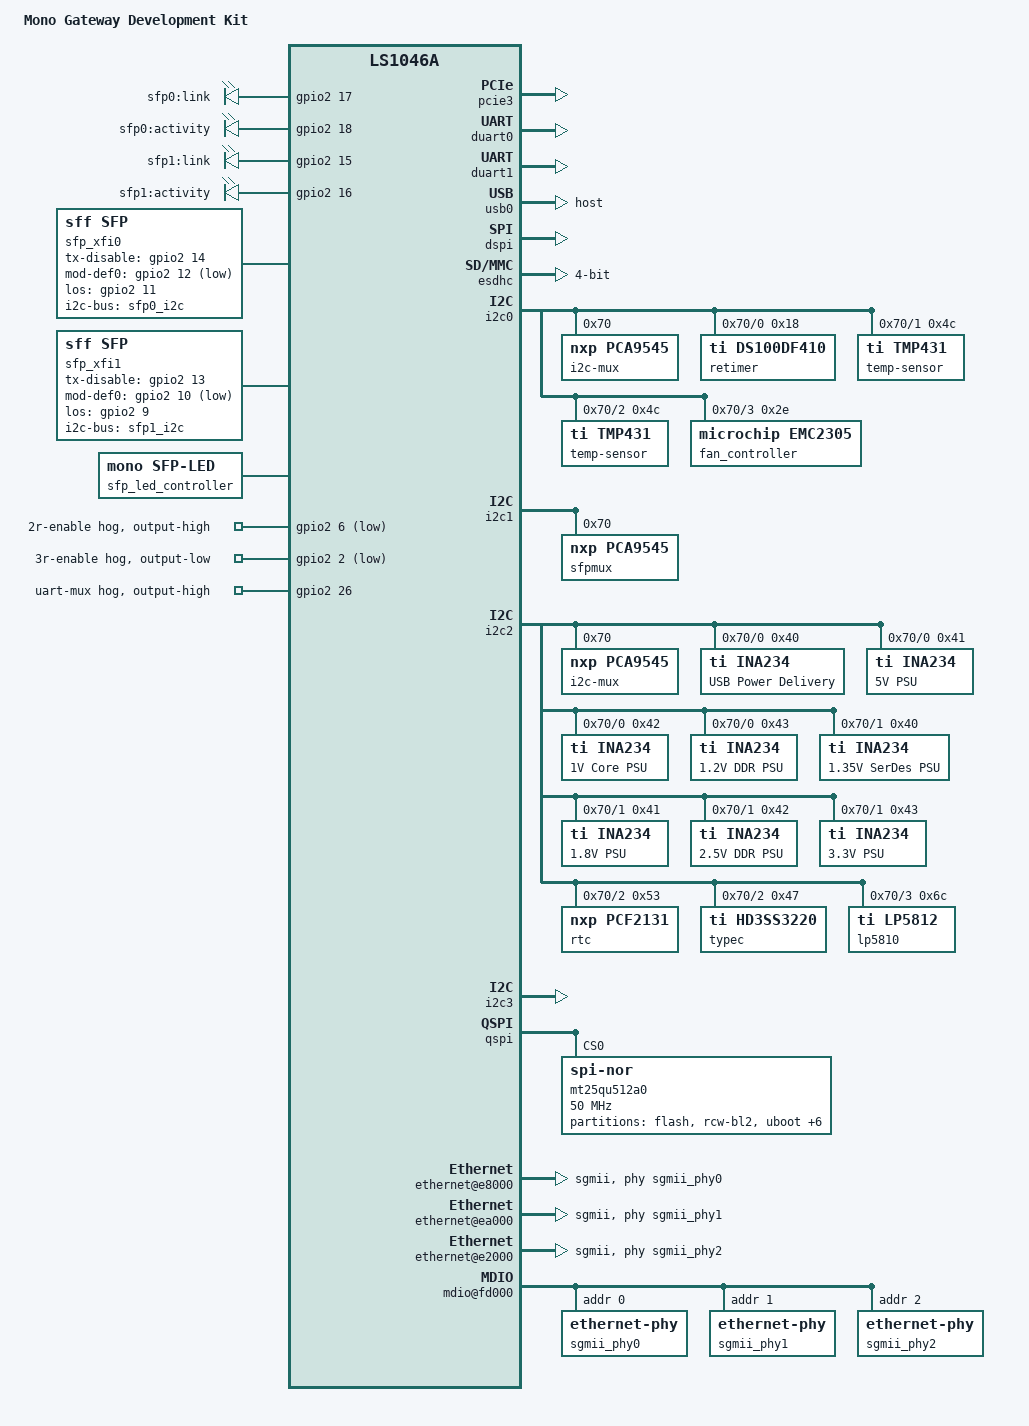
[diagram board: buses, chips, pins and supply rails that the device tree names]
// SPDX-License-Identifier: (GPL-2.0+ OR MIT)
/*
 * Device Tree file for Mono Gateway Development Kit (LS1046A)
 */

/dts-v1/;

#include <dt-bindings/gpio/gpio.h>
#include <dt-bindings/leds/common.h>
#include <dt-bindings/pwm/pwm.h>
#include "fsl-ls1046a.dtsi"

/ {
	model = "Mono Gateway Development Kit";
	compatible = "mono,gateway-dk", "fsl,ls1046a";

	aliases {
		serial0 = &duart0;
		serial1 = &duart1;

		/* Physical port order: left to right */
		ethernet0 = &enet4;  /* MAC5 - 1G leftmost - LAN */
		ethernet1 = &enet5;  /* MAC6 - 1G middle - LAN */
		ethernet2 = &enet1;  /* MAC2 - 1G rightmost - LAN */
		ethernet3 = &enet6;  /* MAC9 - 10G left - WAN */
		ethernet4 = &enet7;  /* MAC10 - 10G right - extra */
	};

	chosen {
		stdout-path = "serial0:115200n8";
	};

	leds {
		compatible = "gpio-leds";

		/* SFP+ Port 0 LEDs - Activity/Link */
		led_sfp0_link: sfp0_link {
			label = "sfp0:link";
			gpios = <&gpio2 17 GPIO_ACTIVE_HIGH>;
			default-state = "off";
		};

		led_sfp0_activity: sfp0_activity {
			label = "sfp0:activity";
			gpios = <&gpio2 18 GPIO_ACTIVE_HIGH>;
			default-state = "off";
		};

		/* SFP+ Port 1 LEDs - Activity/Link */
		led_sfp1_link: sfp1_link {
			label = "sfp1:link";
			gpios = <&gpio2 15 GPIO_ACTIVE_HIGH>;
			default-state = "off";
		};

		led_sfp1_activity: sfp1_activity {
			label = "sfp1:activity";
			gpios = <&gpio2 16 GPIO_ACTIVE_HIGH>;
			default-state = "off";
		};
	};

	/* SFP 1 */
	sfp_xfi0: sfp-xfi0 {
		compatible = "sff,sfp";
		i2c-bus = <&sfp0_i2c>;
		tx-disable-gpios = <&gpio2 14 GPIO_ACTIVE_HIGH>;
		mod-def0-gpios = <&gpio2 12 GPIO_ACTIVE_LOW>;
		los-gpios = <&gpio2 11 GPIO_ACTIVE_HIGH>;
		maximum-power-milliwatt = <3000>;
		leds = <&led_sfp0_link>, <&led_sfp0_activity>;
	};

	/* SFP 2 */
	sfp_xfi1: sfp-xfi1 {
		compatible = "sff,sfp";
		i2c-bus = <&sfp1_i2c>;
		tx-disable-gpios = <&gpio2 13 GPIO_ACTIVE_HIGH>;
		mod-def0-gpios = <&gpio2 10 GPIO_ACTIVE_LOW>;
		los-gpios = <&gpio2 9 GPIO_ACTIVE_HIGH>;
		maximum-power-milliwatt = <3000>;
		leds = <&led_sfp1_link>, <&led_sfp1_activity>;
	};

	/* SFP LED Controller */
	sfp_led_controller: sfp-led-controller {
		compatible = "mono,sfp-led";
		sfp-ports = <&sfp_xfi0>, <&sfp_xfi1>;
	};
};

&pcie3 {
	status = "okay";
};

&gpio2 {
	2R-enable {
		gpio-hog;
		gpios = <6 GPIO_ACTIVE_LOW>;
		output-high;
		line-name = "2r-enable";
	};

	3R-enable {
		gpio-hog;
		gpios = <2 GPIO_ACTIVE_LOW>;
		output-low;
		line-name = "3r-enable";
	};

	uart-mux {
		gpio-hog;
		gpios = <26 GPIO_ACTIVE_HIGH>;
		output-high;
		line-name = "uart-mux";
	};
};

&duart0 {
	status = "okay";
};

&duart1 {
	status = "okay";
	uart-has-rtscts;
};

&usb0 {
	status = "okay";
	dr_mode = "host";
};

&usb1 {
	status = "disabled";
	disable-over-current;
};

&usb2 {
	status = "disabled";
	disable-over-current;
};

&dspi {
	status = "okay";
};

&esdhc {
	status = "okay";
	mmc-hs200-1_8v;
	bus-width = <4>;
};

&i2c0 {
	status = "okay";

	/* Thermal sensors, retimer, clock generator, PWM fan */
	i2c-mux@70 {
		compatible = "nxp,pca9545";
		reg = <0x70>;
		#address-cells = <1>;
		#size-cells = <0>;

		i2c@0 {
			#address-cells = <1>;
			#size-cells = <0>;
			reg = <0>;

			retimer: retimer@18 {
				compatible = "ti,ds100df410";
				reg = <0x18>;
				status = "okay";
			};
		};

		i2c@1 {
			#address-cells = <1>;
			#size-cells = <0>;
			reg = <1>;

			temp-sensor@4c {
				compatible = "ti,tmp431";
				reg = <0x4c>;
			};
		};

		i2c@2 {
			#address-cells = <1>;
			#size-cells = <0>;
			reg = <2>;

			temp-sensor@4c {
				compatible = "ti,tmp431";
				reg = <0x4c>;
			};
		};

		i2c@3 {
			#address-cells = <1>;
			#size-cells = <0>;
			reg = <3>;

			fan_controller: fan-controller@2e {
				compatible = "microchip,emc2305";
				reg = <0x2e>;
				#address-cells = <1>;
				#size-cells = <0>;
				#pwm-cells = <3>;

				fan: fan@0 {
					reg = <0>;
					pwms = <&fan_controller 26000 1 1>;
					#cooling-cells = <2>;
				};
			};
		};
	};
};

&i2c1 {
	status = "okay";

	/* SFP+ modules */
	sfpmux: i2c-mux@70 {
		compatible = "nxp,pca9545";
		reg = <0x70>;
		#address-cells = <1>;
		#size-cells = <0>;
		
		sfp0_i2c: i2c@0 {
			#address-cells = <1>;
			#size-cells = <0>;
			reg = <0>;
		};

		sfp1_i2c: i2c@1 {
			#address-cells = <1>;
			#size-cells = <0>;
			reg = <1>;
		};
	};
};

&i2c2 {
	status = "okay";

	i2c-mux@70 {
		compatible = "nxp,pca9545";
		reg = <0x70>;
		#address-cells = <1>;
		#size-cells = <0>;
		
		i2c@0 {
			#address-cells = <1>;
			#size-cells = <0>;
			reg = <0>;

			power_sensor@40 {
				compatible = "ti,ina234";
				reg = <0x40>;
				label = "USB Power Delivery";
				#io-channel-cells = <1>;
				shunt-resistor = <1000>;
			};	
			power_sensor@41 {
				compatible = "ti,ina234";
				reg = <0x41>;
				label = "5V PSU";
				#io-channel-cells = <1>;
				shunt-resistor = <1000>;
			};
			power_sensor@42 {
				compatible = "ti,ina234";
				reg = <0x42>;
				label = "1V Core PSU";
				#io-channel-cells = <1>;
				shunt-resistor = <1000>;
			};						
			power_sensor@43 {
				compatible = "ti,ina234";
				reg = <0x43>;
				label = "1.2V DDR PSU";
				#io-channel-cells = <1>;
				shunt-resistor = <5000>;
			};
		};

		i2c@1 {
			#address-cells = <1>;
			#size-cells = <0>;
			reg = <1>;

			power_sensor@40 {
				compatible = "ti,ina234";
				reg = <0x40>;
				label = "1.35V SerDes PSU";
				#io-channel-cells = <1>;
				shunt-resistor = <5000>;
			};	
			power_sensor@41 {
				compatible = "ti,ina234";
				reg = <0x41>;
				label = "1.8V PSU";
				#io-channel-cells = <1>;
				shunt-resistor = <5000>;
			};
			power_sensor@42 {
				compatible = "ti,ina234";
				reg = <0x42>;
				label = "2.5V DDR PSU";
				#io-channel-cells = <1>;
				shunt-resistor = <5000>;
			};						
			power_sensor@43 {
				compatible = "ti,ina234";
				reg = <0x43>;
				label = "3.3V PSU";
				#io-channel-cells = <1>;
				shunt-resistor = <1000>;
			};
		};	

		i2c@2 {
			#address-cells = <1>;
			#size-cells = <0>;
			reg = <2>;

			rtc@53 {
				compatible = "nxp,pcf2131";
				reg = <0x53>;
				status = "okay";
			};

			typec: hd3ss3220@47 {
				compatible = "ti,hd3ss3220";
				reg = <0x47>;
			};
		};

		i2c@3 {
			#address-cells = <1>;
			#size-cells = <0>;
			reg = <3>;

			lp5810@6c {
				compatible = "ti,lp5812";
				reg = <0x6c>;
				#address-cells = <1>;
				#size-cells = <0>;
					
				led@0 {
					reg = <0>;
					color = <LED_COLOR_ID_WHITE>;
					label = "status:white";
					led-max-microamp = <25500>;
				};
				
				led@1 {
					reg = <1>;
					color = <LED_COLOR_ID_BLUE>;
					label = "status:blue";
					led-max-microamp = <25500>;
				};
				
				led@2 {
					reg = <2>;
					color = <LED_COLOR_ID_GREEN>;
					label = "status:green";
					led-max-microamp = <25500>;
				};
				
				led@3 {
					reg = <3>;
					color = <LED_COLOR_ID_RED>;
					label = "status:red";
					led-max-microamp = <25500>;
				};		
			};
		};
	};
};

&i2c3 {
	status = "okay";
};

&qspi {
	status = "okay";

	mt25qu512a0: flash@0 {
		#address-cells = <1>;
		#size-cells = <1>;
		compatible = "jedec,spi-nor";
		spi-max-frequency = <50000000>;
		reg = <0>;

		partitions {
			compatible = "fixed-partitions";
			#address-cells = <1>;
			#size-cells = <1>;

			partition@flash {
				label = "flash";
				reg = <0x0 0x4000000>;
				read-only;
			};

			partition@0 {
				label = "rcw-bl2";
				reg = <0x0 0x100000>;
				read-only;
			};

			partition@100000 {
				label = "uboot";
				reg = <0x100000 0x200000>;
				read-only;
			};

			partition@300000 {
				label = "uboot-env";
				reg = <0x300000 0x100000>;
			};

			partition@400000 {
				label = "fman-ucode";
				reg = <0x400000 0x100000>;
				read-only;
			};

			partition@500000 {
				label = "recovery-dtb";
				reg = <0x500000 0x100000>;
				read-only;
			};

			partition@600000 {
				label = "backup";
				reg = <0x600000 0x400000>;
			};

			partition@a00000 {
				label = "kernel-initramfs";
				reg = <0xa00000 0x1600000>;
				read-only;
			};

			partition@2000000 {
				label = "unallocated";
				reg = <0x2000000 0x2000000>;
			};
		};
	};
};

#include "fsl-ls1046-post.dtsi"

&fman0 {
	ethernet@e0000 {
		status = "disabled";
	};

	ethernet@e4000 {
		status = "disabled";
	};

	ethernet@e6000 {
		status = "disabled";
	};

	ethernet@e8000 {
		phy-handle = <&sgmii_phy0>;
		phy-connection-type = "sgmii";
		status = "okay";
	};

	ethernet@ea000 {
		phy-handle = <&sgmii_phy1>;
		phy-connection-type = "sgmii";
		status = "okay";
	};

	ethernet@e2000 {
		phy-handle = <&sgmii_phy2>;
		phy-connection-type = "sgmii";
		status = "okay";
	};

	fm1_mac9: ethernet@f0000 { /* 10GEC1 */
		sfp = <&sfp_xfi0>;
		phy-connection-type = "10gbase-r";
		managed = "in-band-status";
		pcs-handle-names = "xfi";
	};

 fm1_mac10: ethernet@f2000 { /* 10GEC2 */
		sfp = <&sfp_xfi1>;
		phy-connection-type = "10gbase-r";
		managed = "in-band-status";
		pcs-handle-names = "xfi";
	};
	
	mdio@fc000 {
		status = "disabled";
	};

	mdio@fd000 {
		sgmii_phy0: ethernet-phy@0 {
			reg = <0x0>;
		};

		sgmii_phy1: ethernet-phy@1 {
			reg = <0x1>;
		};

		sgmii_phy2: ethernet-phy@2 {
			reg = <0x2>;
		};
	};
};
